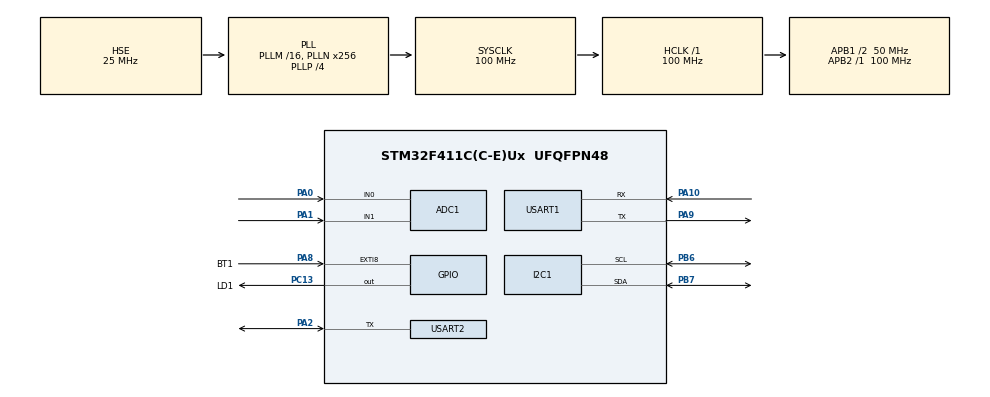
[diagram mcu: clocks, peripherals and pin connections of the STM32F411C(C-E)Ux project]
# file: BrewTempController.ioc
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ADC1.Channel-0\#ChannelRegularConversion=ADC_CHANNEL_0
ADC1.Channel-1\#ChannelRegularConversion=ADC_CHANNEL_1
ADC1.ContinuousConvMode=ENABLE
ADC1.DMAContinuousRequests=ENABLE
ADC1.EOCSelection=ADC_EOC_SEQ_CONV
ADC1.EnableAnalogWatchDog=true
ADC1.HighThreshold=3500
ADC1.ITMode=ENABLE
ADC1.LowThreshold=500
ADC1.NbrOfConversion=2
ADC1.NbrOfConversionFlag=1
ADC1.Rank-0\#ChannelRegularConversion=1
ADC1.Rank-1\#ChannelRegularConversion=2
ADC1.SamplingTime-0\#ChannelRegularConversion=ADC_SAMPLETIME_3CYCLES
ADC1.SamplingTime-1\#ChannelRegularConversion=ADC_SAMPLETIME_3CYCLES
ADC1.ScanConvMode=ENABLE
ADC1.WatchdogMode=ADC_ANALOGWATCHDOG_ALL_REG
ADC1.master=1
Dma.ADC1.0.Direction=DMA_PERIPH_TO_MEMORY
Dma.ADC1.0.FIFOMode=DMA_FIFOMODE_DISABLE
Dma.ADC1.0.Instance=DMA2_Stream0
Dma.ADC1.0.MemDataAlignment=DMA_MDATAALIGN_HALFWORD
Dma.ADC1.0.MemInc=DMA_MINC_ENABLE
Dma.ADC1.0.Mode=DMA_NORMAL
Dma.ADC1.0.PeriphDataAlignment=DMA_PDATAALIGN_HALFWORD
Dma.ADC1.0.PeriphInc=DMA_PINC_DISABLE
Dma.ADC1.0.Priority=DMA_PRIORITY_HIGH
Dma.Request0=ADC1
Mcu.Family=STM32F4
Mcu.Name=STM32F411C(C-E)Ux
Mcu.Package=UFQFPN48
NVIC.ADC_IRQn=true\:0\:0\:true\:false\:true\:true\:true\:true
NVIC.DMA2_Stream0_IRQn=true\:0\:0\:false\:false\:true\:false\:true\:true
NVIC.EXTI9_5_IRQn=true\:0\:0\:false\:false\:true\:true\:true\:true
NVIC.PriorityGroup=NVIC_PRIORITYGROUP_4
NVIC.TIM1_UP_TIM10_IRQn=true\:0\:0\:false\:false\:true\:true\:true\:true
PA0-WKUP.Signal=ADCx_IN0
PA1.Signal=ADCx_IN1
PA10.Mode=Asynchronous
PA10.Signal=USART1_RX
PA2.Mode=Half_duplex(single_wire_mode)
PA2.Signal=USART2_TX
PA8.GPIO_Label=BT1
PA8.GPIO_ModeDefaultEXTI=GPIO_MODE_IT_FALLING
PA8.GPIO_PuPd=GPIO_PULLUP
PA8.Signal=GPXTI8
PA9.Mode=Asynchronous
PA9.Signal=USART1_TX
PB6.Mode=I2C
PB6.Signal=I2C1_SCL
PB7.Mode=I2C
PB7.Signal=I2C1_SDA
PC13-ANTI_TAMP.GPIO_Label=LD1
PC13-ANTI_TAMP.PinState=GPIO_PIN_SET
PC13-ANTI_TAMP.Signal=GPIO_Output
PH0\ -\ OSC_IN.Mode=HSE-External-Oscillator
PH0\ -\ OSC_IN.Signal=RCC_OSC_IN
PH1\ -\ OSC_OUT.Mode=HSE-External-Oscillator
PH1\ -\ OSC_OUT.Signal=RCC_OSC_OUT
ProjectManager.HeapSize=0x200
ProjectManager.StackSize=0x400
ProjectManager.TargetToolchain=STM32CubeIDE
RCC.48MHZClocksFreq_Value=100000000
RCC.AHBFreq_Value=100000000
RCC.APB1CLKDivider=RCC_HCLK_DIV2
RCC.APB1Freq_Value=50000000
RCC.APB1TimFreq_Value=100000000
RCC.APB2Freq_Value=100000000
RCC.APB2TimFreq_Value=100000000
RCC.CortexFreq_Value=100000000
RCC.HCLKFreq_Value=100000000
RCC.HSE_VALUE=25000000
RCC.HSI_VALUE=16000000
RCC.LSE_VALUE=32768
RCC.PLLN=256
RCC.PLLP=RCC_PLLP_DIV4
RCC.PLLSourceVirtual=RCC_PLLSOURCE_HSE
RCC.SYSCLKFreq_VALUE=100000000
RCC.SYSCLKSource=RCC_SYSCLKSOURCE_PLLCLK
RCC.VCOOutputFreq_Value=400000000
SH.ADCx_IN0.0=ADC1_IN0,IN0
SH.ADCx_IN1.0=ADC1_IN1,IN1
TIM1.Period=999
TIM1.Prescaler=99
USART1.VirtualMode=VM_ASYNC
USART2.BaudRate=9600
USART2.VirtualMode=VM_ASYNC
VP_TIM1_VS_ClockSourceINT.Mode=Internal
board=custom

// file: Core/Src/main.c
/* USER CODE BEGIN Header */
/**
  ******************************************************************************
  * @file           : main.c
  * @brief          : Main program body
  ******************************************************************************
  * @attention
  *
  * Copyright (c) 2024 STMicroelectronics.
  * All rights reserved.
  *
  * This software is licensed under terms that can be found in the LICENSE file
  * in the root directory of this software component.
  * If no LICENSE file comes with this software, it is provided AS-IS.
  *
  ******************************************************************************
  */
/* USER CODE END Header */
#include "main.h"
#include "adc.h"
#include "dma.h"
#include "i2c.h"
#include "tim.h"
#include "usart.h"
#include "gpio.h"

/* USER CODE BEGIN Includes */
#include <string.h>
#include <stdio.h>
#include <stdarg.h>
#include "ds18b20.h"
#include "ssd1306.h"
#include "ssd1306_fonts.h"
/* USER CODE END Includes */

/* USER CODE BEGIN PTD */
#define MAX_PRINTF_LEN 100
/* USER CODE END PTD */

/* USER CODE BEGIN PV */
volatile uint32_t timerTicks = 0;
volatile uint8_t timerFlag500 = 0;
volatile uint8_t timerFlag1000 = 0;
volatile uint8_t timerFlag2000 = 0;

volatile uint8_t adcFlag = 0;
uint16_t adcBuffer[2] = {0};

volatile uint8_t readTempFlag = 0;
//uint8_t romeCode1[] =  {41, 96, 121, 139, 13, 0, 0, 30};
//uint8_t romeCode2[] =  {41, 42, 71, 138, 178, 35, 6, 167};

volatile uint8_t buttonFlag = 0;

volatile uint8_t choosingEnabled = 0;
volatile uint8_t choosingTicks = 0;

/* USER CODE END PV */

void SystemClock_Config(void);
/* USER CODE BEGIN PFP */
void UART_Print(UART_HandleTypeDef *huart, const char* string);
void UART_Printf(UART_HandleTypeDef *huart, const char* string, ...);
void SSD1306_Print(uint8_t cursorX, uint8_t cursorY, SSD1306_COLOR color, char* string);
void SSD1306_Printf(uint8_t cursorX, uint8_t cursorY, SSD1306_COLOR color, const char* string, ...);
/* USER CODE END PFP */

int main(void)
{

  /* MCU Configuration--------------------------------------------------------*/

  /* Reset of all peripherals, Initializes the Flash interface and the Systick. */
  HAL_Init();

  /* Configure the system clock */
  SystemClock_Config();

  /* Initialize all configured peripherals */
  MX_GPIO_Init();
  MX_DMA_Init();
  MX_TIM1_Init();
  MX_USART1_UART_Init();
  MX_ADC1_Init();
  MX_USART2_UART_Init();
  MX_I2C1_Init();
  /* USER CODE BEGIN 2 */
  HAL_TIM_Base_Start_IT(&htim1);
  ssd1306_Init();

  HAL_GPIO_WritePin(LD1_GPIO_Port, LD1_Pin, GPIO_PIN_RESET);
  UART_Print(&huart1,  "Initialization done!");
  /* USER CODE END 2 */

  /* Infinite loop */
  /* USER CODE BEGIN WHILE */
  uint8_t romCode[DS18B20_ROM_CODE_SIZE] = {0};
  HAL_StatusTypeDef check = DS18B20_ReadAddress(romCode);
  if (check != HAL_OK){
	  UART_Print(&huart1,  "Error occurred!");
  }
  else{
	  uint8_t txNull[5] = {0};
	  HAL_UART_Transmit(&huart1, txNull, 5, 100);
	  HAL_UART_Transmit(&huart1, romCode, DS18B20_ROM_CODE_SIZE, 100);
	  HAL_UART_Transmit(&huart1, txNull, 5, 100);
  }
  ssd1306_Fill(Black);
  ssd1306_UpdateScreen();
  while (1)
  {
    /* USER CODE END WHILE */

    /* USER CODE BEGIN 3 */
	  if (timerFlag500){
		  timerFlag500 = 0;
		  if (!adcFlag){
			  adcFlag = 1;
			  HAL_ADC_Start_DMA(&hadc1, (uint32_t*)adcBuffer, 2);
		  }
	  }
	  if (timerFlag1000){
		  timerFlag1000 = 0;
//		  UART_Printf(&huart1, "Timer ticks: %d\n", timerTicks);
  		  HAL_GPIO_TogglePin(LD1_GPIO_Port, LD1_Pin);
		  uint32_t totalSeconds = timerTicks / 1000;
		  uint32_t minutes = totalSeconds / 60;
		  uint32_t seconds = totalSeconds % 60;
		  UART_Printf(&huart1, "%02d:%02d\n", minutes, seconds);
		  SSD1306_Printf(70, 0, White, "%02ld:%02ld\n", minutes, seconds);

		  if (readTempFlag){
			  readTempFlag = 0;
			  int16_t temp = DS18B20_GetTemp_Int(NULL);
			  if (temp <= -200){
				  UART_Print(&huart1, "Error occurred during reading temperature! ");
			  }
			  UART_Printf(&huart1, "T: %d\n", temp);
			  SSD1306_Printf(0, 0, White, "T: %d\n", temp);
		  }
		  if (!readTempFlag){
			  check = DS18B20_StartMeasure(NULL);
			  if (check != HAL_OK){
				  UART_Print(&huart1,  "Error occurred!");
			  }
			  else{
				  readTempFlag = 1;
			  }
		  }
		  if (choosingEnabled){
			  if (choosingTicks % 2 == 0){
				  SSD1306_Print(52, 32, White, "TEST");
			  }
			  else{
				  SSD1306_Print(52, 32, Black, "TEST");
			  }

			  choosingTicks++;
			  if (choosingTicks > 4){
				  choosingEnabled = 0;
				  choosingTicks = 0;
			  }
		  }
	  }
	  if (timerFlag2000){
		  timerFlag2000 = 0;
	  }
	  if (buttonFlag){
		  buttonFlag = 0;
		  choosingEnabled = 1;
	  }
  }
  /* USER CODE END 3 */
}

void SystemClock_Config(void)
{
  RCC_OscInitTypeDef RCC_OscInitStruct = {0};
  RCC_ClkInitTypeDef RCC_ClkInitStruct = {0};

  /** Configure the main internal regulator output voltage
  */
  __HAL_RCC_PWR_CLK_ENABLE();
  __HAL_PWR_VOLTAGESCALING_CONFIG(PWR_REGULATOR_VOLTAGE_SCALE1);

  /** Initializes the RCC Oscillators according to the specified parameters
  * in the RCC_OscInitTypeDef structure.
  */
  RCC_OscInitStruct.OscillatorType = RCC_OSCILLATORTYPE_HSE;
  RCC_OscInitStruct.HSEState = RCC_HSE_ON;
  RCC_OscInitStruct.PLL.PLLState = RCC_PLL_ON;
  RCC_OscInitStruct.PLL.PLLSource = RCC_PLLSOURCE_HSE;
  RCC_OscInitStruct.PLL.PLLM = 16;
  RCC_OscInitStruct.PLL.PLLN = 256;
  RCC_OscInitStruct.PLL.PLLP = RCC_PLLP_DIV4;
  RCC_OscInitStruct.PLL.PLLQ = 4;
  if (HAL_RCC_OscConfig(&RCC_OscInitStruct) != HAL_OK)
  {
    Error_Handler();
  }

  /** Initializes the CPU, AHB and APB buses clocks
  */
  RCC_ClkInitStruct.ClockType = RCC_CLOCKTYPE_HCLK|RCC_CLOCKTYPE_SYSCLK
                              |RCC_CLOCKTYPE_PCLK1|RCC_CLOCKTYPE_PCLK2;
  RCC_ClkInitStruct.SYSCLKSource = RCC_SYSCLKSOURCE_PLLCLK;
  RCC_ClkInitStruct.AHBCLKDivider = RCC_SYSCLK_DIV1;
  RCC_ClkInitStruct.APB1CLKDivider = RCC_HCLK_DIV2;
  RCC_ClkInitStruct.APB2CLKDivider = RCC_HCLK_DIV1;

  if (HAL_RCC_ClockConfig(&RCC_ClkInitStruct, FLASH_LATENCY_3) != HAL_OK)
  {
    Error_Handler();
  }
}

/* USER CODE BEGIN 4 */

void UART_Print(UART_HandleTypeDef *huart, const char* string){
	HAL_UART_Transmit(huart, (uint8_t*)string, strlen(string), HAL_MAX_DELAY);
}

void UART_Printf(UART_HandleTypeDef *huart, const char* string, ...){
	va_list argp;
	va_start(argp, string);
	char stringf[MAX_PRINTF_LEN];
	if (vsprintf(stringf, string, argp) > 0){
		UART_Print(huart, stringf);
	}
	va_end(argp);
}

void SSD1306_Print(uint8_t cursorX, uint8_t cursorY, SSD1306_COLOR color, char* string){
	  ssd1306_SetCursor(cursorX, cursorY);
	  ssd1306_WriteString(string, Font_6x8, color);
	  ssd1306_UpdateScreen();
}

void SSD1306_Printf(uint8_t cursorX, uint8_t cursorY, SSD1306_COLOR color, const char* string, ...){
	va_list argp;
	va_start(argp, string);
	char stringf[MAX_PRINTF_LEN];
	if (vsprintf(stringf, string, argp) > 0){
		SSD1306_Print(cursorX, cursorY, color, stringf);
	}
	va_end(argp);
}

void HAL_TIM_PeriodElapsedCallback(TIM_HandleTypeDef *htim)
{
    if (htim->Instance == TIM1) {
    	timerTicks++;
		if (timerTicks % 500 == 0){
			timerFlag500 = 1;
		}
    	if (timerTicks % 1000 == 0){
    		timerFlag1000 = 1;
		}
    	if (timerTicks % 2000 == 0){
    		timerFlag2000 = 1;
		}
    }
}

void HAL_ADC_ConvCpltCallback(ADC_HandleTypeDef *hadc) {
    if (hadc->Instance == ADC1) {
    	adcFlag = 0;
    }
}

void HAL_ADC_LevelOutOfWindowCallback(ADC_HandleTypeDef *hadc) {
    if (hadc->Instance == ADC1) {
		UART_Printf(&huart1, "ADC buffer: [%d, %d]\n", adcBuffer[0], adcBuffer[1]);
	    if (adcBuffer[0] <= 500){
	    	SSD1306_Print(0, 32, White, "Down ");
	    }
	    else if (adcBuffer[0] >= 3500){
	    	SSD1306_Print(0, 32, White, "Up   ");
	    }
	    else if (adcBuffer[1] >= 3500){
	    	SSD1306_Print(0, 32, White, "Left ");
	    }
	    else if (adcBuffer[1] <= 500){
	    	SSD1306_Print(0, 32, White, "Right");
	    }
    }
}

void HAL_GPIO_EXTI_Callback(uint16_t GPIO_Pin){
	if (GPIO_Pin == BT1_Pin && !buttonFlag){
		buttonFlag = 1;
		UART_Print(&huart1, "Button 1 pressed!");
	}
}

/* USER CODE END 4 */

void Error_Handler(void)
{
  /* USER CODE BEGIN Error_Handler_Debug */
  /* User can add his own implementation to report the HAL error return state */
  __disable_irq();
  while (1)
  {
	  UART_Print(&huart1,  "Error handler callback!");
  }
  /* USER CODE END Error_Handler_Debug */
}
